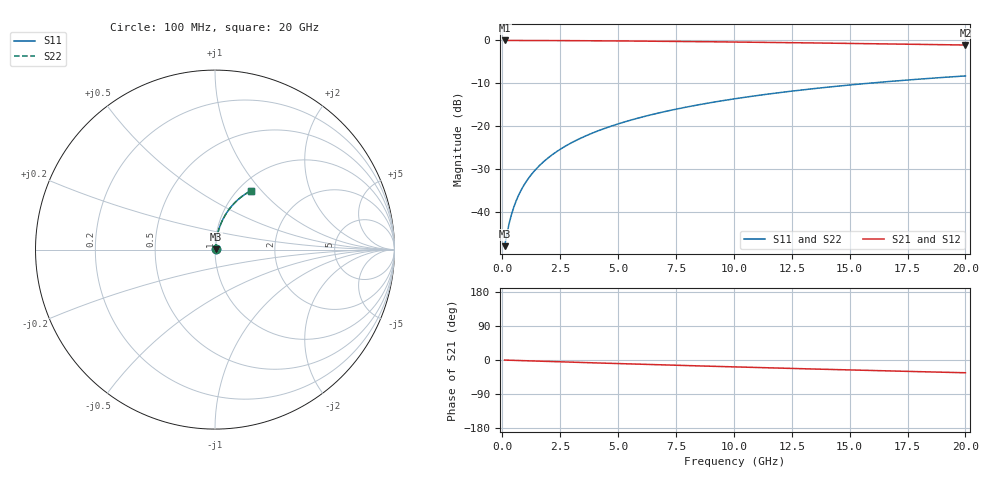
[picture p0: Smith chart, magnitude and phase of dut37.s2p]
! Touchstone file exported from HFSS 2024.1.0
!  File:  C:/UserFiles/LocalFiles/RDL_TSV_Batchsim/temp_RDL_bottom_37_1778692423.aedt
!  Generated:  01:16:01 AM May 14, 2026
!  Design:  RDL_bottom
!  Project:  temp_RDL_bottom_37_1778692423
!  Setup:  Setup1
!  Solution:  Sweep
! Variables:
!  dtsv = 10.80580581um
!  hbump = 3um
!  htsv = 95.46um
!  ldown = 449.37um
!  lrdl = 100um
!  p = 40
!  p1 = 40.4um
!  rhole = 1um
!  t = 450um
!  tdown = 4.43um
!  trdl = 3.915915916um
!  wdown = 11.06um
!  wrdl = 20um
# GHz S MA R 50.000000
! Terminal data exported
! Port[1] = RDL1_T1
! Port[2] = RDL1_T2
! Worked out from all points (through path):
!   200 points, 100 MHz to 20 GHz, reference 50 ohm
!   highest |S21| = -0.03 dB at 100 MHz (marker M1); lowest = -1.1 dB at 20 GHz (marker M2)
!   group delay of S21, straight-line fit = 4.67 ps
!   lowest |S11| = -48.0 dB at 100 MHz (marker M3), VSWR 1.01, Z = 50.3 + j0.224 ohm
!   |S11| at or under -10 dB: start of sweep to 15.83 GHz
!   |S22| runs from -48.0 to -8.3 dB; largest |S21 - S12| = 3.4e-15
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0.1  0.003985 33.9  0.9967 -0.2  0.9967 -0.2  0.003985 33.9
! Gamma 0 0 0 0
! Port Impedance 50 0 50 0
0.2  0.005556 52.5  0.9966 -0.4  0.9966 -0.4  0.005556 52.5
0.3  0.007422 62.1  0.9965 -0.6  0.9965 -0.6  0.007422 62.1
0.4  0.009396 67.8  0.9964 -0.8  0.9964 -0.8  0.009396 67.8
0.5  0.01142 71.4  0.9963 -1.0  0.9963 -1.0  0.01142 71.4
0.6  0.01348 73.9  0.9962 -1.2  0.9962 -1.2  0.01348 73.9
0.8  0.01765 77.1  0.996 -1.5  0.996 -1.5  0.01765 77.1
1.1  0.02398 79.6  0.9957 -2.1  0.9957 -2.1  0.02398 79.6
1.5  0.03246 81.1  0.9951 -2.9  0.9951 -2.9  0.03246 81.1
1.8  0.03883 81.6  0.9945 -3.5  0.9945 -3.5  0.03882 81.6
2.1  0.04519 81.8  0.9939 -4.0  0.9939 -4.0  0.04519 81.8
2.7  0.05789 81.8  0.9925 -5.2  0.9925 -5.2  0.05789 81.8
3.5  0.07475 81.3  0.99 -6.7  0.99 -6.7  0.07475 81.3
4.2  0.08943 80.7  0.9875 -8.0  0.9875 -8.0  0.08942 80.7
5  0.1061 79.8  0.9842 -9.4  0.9842 -9.4  0.1061 79.8
5.9  0.1247 78.7  0.9799 -11.1  0.9799 -11.1  0.1247 78.7
6.8  0.1432 77.5  0.9753 -12.7  0.9753 -12.7  0.1432 77.5
8.3  0.1737 75.4  0.9668 -15.3  0.9668 -15.3  0.1737 75.4
10.1  0.2095 72.8  0.9555 -18.3  0.9555 -18.3  0.2095 72.8
13.4  0.2725 68.0  0.9326 -23.7  0.9326 -23.7  0.2725 68.0
16.7  0.3312 63.2  0.9077 -28.8  0.9077 -28.8  0.3311 63.2
20  0.3847 58.5  0.8818 -33.7  0.8818 -33.7  0.3846 58.5
